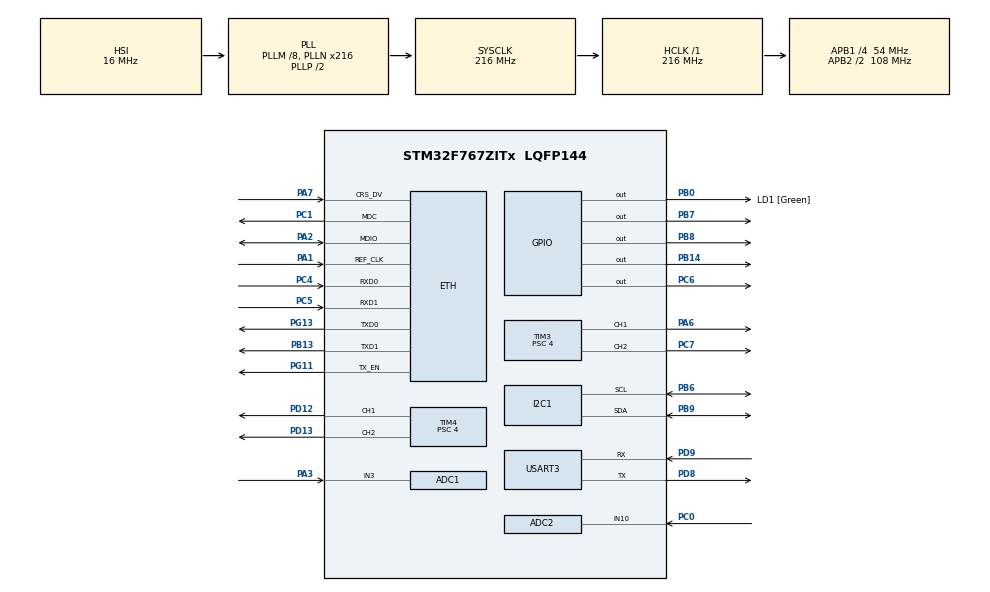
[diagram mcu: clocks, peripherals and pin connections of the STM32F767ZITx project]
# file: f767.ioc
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ADC1.Channel-0\#ChannelRegularConversion=ADC_CHANNEL_3
ADC1.NbrOfConversionFlag=1
ADC1.Rank-0\#ChannelRegularConversion=1
ADC1.SamplingTime-0\#ChannelRegularConversion=ADC_SAMPLETIME_3CYCLES
ADC1.master=1
ADC2.Channel-1\#ChannelRegularConversion=ADC_CHANNEL_10
ADC2.NbrOfConversionFlag=1
ADC2.Rank-1\#ChannelRegularConversion=1
ADC2.SamplingTime-1\#ChannelRegularConversion=ADC_SAMPLETIME_3CYCLES
ETH.MediaInterface=HAL_ETH_RMII_MODE
FREERTOS.Tasks01=defaultTask,24,2048,StartDefaultTask,Default,NULL,Dynamic,NULL,NULL
FREERTOS.configTOTAL_HEAP_SIZE=65536
FREERTOS.configUSE_NEWLIB_REENTRANT=1
I2C1.Timing=0x20404768
Mcu.Family=STM32F7
Mcu.Name=STM32F767ZITx
Mcu.Package=LQFP144
NVIC.ETH_IRQn=true\:5\:0\:false\:false\:false\:true\:true\:false\:true
NVIC.PriorityGroup=NVIC_PRIORITYGROUP_4
NVIC.TIM6_DAC_IRQn=true\:15\:0\:false\:false\:true\:false\:false\:true\:true
NVIC.TimeBase=TIM6_DAC_IRQn
NVIC.TimeBaseIP=TIM6
PA1.Mode=RMII
PA1.Signal=ETH_REF_CLK
PA2.Mode=RMII
PA2.Signal=ETH_MDIO
PA3.Signal=ADCx_IN3
PA6.Signal=S_TIM3_CH1
PA7.Mode=RMII
PA7.Signal=ETH_CRS_DV
PB0.GPIO_Label=LD1 [Green]
PB0.Signal=GPIO_Output
PB13.Mode=RMII
PB13.Signal=ETH_TXD1
PB14.Signal=GPIO_Output
PB6.Mode=I2C
PB6.Signal=I2C1_SCL
PB7.Signal=GPIO_Output
PB8.Signal=GPIO_Output
PB9.Mode=I2C
PB9.Signal=I2C1_SDA
PC0.Signal=ADCx_IN10
PC1.Mode=RMII
PC1.Signal=ETH_MDC
PC4.Mode=RMII
PC4.Signal=ETH_RXD0
PC5.Mode=RMII
PC5.Signal=ETH_RXD1
PC6.Signal=GPIO_Output
PC7.Signal=S_TIM3_CH2
PD12.Signal=S_TIM4_CH1
PD13.Signal=S_TIM4_CH2
PD8.Mode=Asynchronous
PD8.Signal=USART3_TX
PD9.Mode=Asynchronous
PD9.Signal=USART3_RX
PG11.Mode=RMII
PG11.Signal=ETH_TX_EN
PG13.Mode=RMII
PG13.Signal=ETH_TXD0
ProjectManager.HeapSize=0x200
ProjectManager.StackSize=0x400
ProjectManager.TargetToolchain=STM32CubeIDE
RCC.48MHZClocksFreq_Value=45000000
RCC.AHBFreq_Value=216000000
RCC.APB1CLKDivider=RCC_HCLK_DIV4
RCC.APB1Freq_Value=54000000
RCC.APB1TimFreq_Value=108000000
RCC.APB2CLKDivider=RCC_HCLK_DIV2
RCC.APB2Freq_Value=108000000
RCC.APB2TimFreq_Value=216000000
RCC.CortexFreq_Value=216000000
RCC.HCLKFreq_Value=216000000
RCC.HSE_VALUE=25000000
RCC.HSI_VALUE=16000000
RCC.LSE_VALUE=32768
RCC.PLLM=8
RCC.PLLN=216
RCC.PLLQ=9
RCC.SYSCLKFreq_VALUE=216000000
RCC.SYSCLKSource=RCC_SYSCLKSOURCE_PLLCLK
RCC.USBFreq_Value=48000000
RCC.VCOOutputFreq_Value=432000000
SH.ADCx_IN10.0=ADC2_IN10,IN10
SH.ADCx_IN3.0=ADC1_IN3,IN3
SH.S_TIM3_CH1.0=TIM3_CH1,PWM Generation1 CH1
SH.S_TIM3_CH2.0=TIM3_CH2,PWM Generation2 CH2
SH.S_TIM4_CH1.0=TIM4_CH1,PWM Generation1 CH1
SH.S_TIM4_CH2.0=TIM4_CH2,PWM Generation2 CH2
TIM3.Channel-PWM\ Generation1\ CH1=TIM_CHANNEL_1
TIM3.Channel-PWM\ Generation2\ CH2=TIM_CHANNEL_2
TIM3.Period=4095
TIM3.Prescaler=4
TIM4.Channel-PWM\ Generation1\ CH1=TIM_CHANNEL_1
TIM4.Channel-PWM\ Generation2\ CH2=TIM_CHANNEL_2
TIM4.Period=4095
TIM4.Prescaler=4
USART3.VirtualMode=VM_ASYNC
USART3.VirtualMode-Asynchronous=VM_ASYNC
VP_FREERTOS_VS_CMSIS_V2.Mode=CMSIS_V2
VP_RNG_VS_RNG.Mode=RNG_Activate
VP_SYS_VS_tim6.Mode=TIM6
board=custom

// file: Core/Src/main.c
/* USER CODE BEGIN Header */
/**
  ******************************************************************************
  * @file           : main.c
  * @brief          : Main program body
  ******************************************************************************
  * @attention
  *
  * Copyright (c) 2024 STMicroelectronics.
  * All rights reserved.
  *
  * This software is licensed under terms that can be found in the LICENSE file
  * in the root directory of this software component.
  * If no LICENSE file comes with this software, it is provided AS-IS.
  *
  ******************************************************************************
  */
/* USER CODE END Header */
#include "main.h"
#include "string.h"
#include "cmsis_os.h"
#include <stdio.h>

/* USER CODE BEGIN Includes */
#include "mongoose_glue.h"
/* USER CODE END Includes */

/* USER CODE BEGIN PD */
#define MMA8451_ADDR 0x1D
#define F_STATUS 0x00
#define X_MSB 0x01
#define X_LSB 0x02
#define Y_MSB 0x03
#define Y_LSB 0x04
#define Z_MSB 0x05
#define Z_LSB 0x06
#define WHOAMI_REG 0x0D
#define CTRL1 0x2A
#define CTRL2 0x2B
#define G 9.8

asm(".global _printf_float");
/* USER CODE END PD */

#if defined ( __ICCARM__ ) /*!< IAR Compiler */
#pragma location=0x2007c000
ETH_DMADescTypeDef  DMARxDscrTab[ETH_RX_DESC_CNT]; /* Ethernet Rx DMA Descriptors */
#pragma location=0x2007c0a0
ETH_DMADescTypeDef  DMATxDscrTab[ETH_TX_DESC_CNT]; /* Ethernet Tx DMA Descriptors */

#elif defined ( __CC_ARM )  /* MDK ARM Compiler */

__attribute__((at(0x2007c000))) ETH_DMADescTypeDef  DMARxDscrTab[ETH_RX_DESC_CNT]; /* Ethernet Rx DMA Descriptors */
__attribute__((at(0x2007c0a0))) ETH_DMADescTypeDef  DMATxDscrTab[ETH_TX_DESC_CNT]; /* Ethernet Tx DMA Descriptors */

#elif defined ( __GNUC__ ) /* GNU Compiler */

ETH_DMADescTypeDef DMARxDscrTab[ETH_RX_DESC_CNT] __attribute__((section(".RxDecripSection"))); /* Ethernet Rx DMA Descriptors */
ETH_DMADescTypeDef DMATxDscrTab[ETH_TX_DESC_CNT] __attribute__((section(".TxDecripSection")));   /* Ethernet Tx DMA Descriptors */
#endif

ETH_TxPacketConfig TxConfig;

ADC_HandleTypeDef hadc1;
ADC_HandleTypeDef hadc2;

ETH_HandleTypeDef heth;

I2C_HandleTypeDef hi2c1;

RNG_HandleTypeDef hrng;

TIM_HandleTypeDef htim3;
TIM_HandleTypeDef htim4;

UART_HandleTypeDef huart3;

/* Definitions for defaultTask */
osThreadId_t defaultTaskHandle;
const osThreadAttr_t defaultTask_attributes = {
  .name = "defaultTask",
  .stack_size = 2048 * 4,
  .priority = (osPriority_t) osPriorityNormal,
};
/* USER CODE BEGIN PV */
char car_status[64] = "Idle";
uint16_t PWM_Value2 = 0;
uint16_t PWM_Value3 = 0;
uint16_t PWM_Value4 = 0;
uint16_t PWM_Value5 = 0;
uint16_t aksx; 						/* Fra akselerometer */
uint16_t aksy; 						/* Fra akselerometer */
uint16_t fart_input = 0; 			/* Kontroller fart */
uint16_t turning_input = 0; 		/* Fra joystick */
float current_speed = 0; 			/* Kalkulert med akselerasjon */
bool front_lights = false;			/* Status for front lights on car */
bool brake_lights = false;			/* Status for brake lights on car */
/* USER CODE END PV */

void SystemClock_Config(void);
static void MX_GPIO_Init(void);
static void MX_ETH_Init(void);
static void MX_RNG_Init(void);
static void MX_USART3_UART_Init(void);
static void MX_ADC1_Init(void);
static void MX_ADC2_Init(void);
static void MX_TIM3_Init(void);
static void MX_TIM4_Init(void);
static void MX_I2C1_Init(void);
void StartDefaultTask(void *argument);

/* USER CODE BEGIN PFP */
struct car_lights {
    bool front_light;
    bool brake_light;
};

struct car_status {
	char status[64];
	int speed;
};

void BrakeStatusTask(void *argument) {
    for (;;) {
        // Update the brake light variable based on car state
        brake_lights = strcmp(car_status, "Braking") == 0;

        // Update GPIO hardware
        HAL_GPIO_WritePin(GPIOB, GPIO_PIN_8, brake_lights ? GPIO_PIN_SET : GPIO_PIN_RESET);

        osDelay(200); // every 200ms
    }
}

void CarControlTask(void *argument) {
    for (;;) {
        // Update the brake light variable based on car state
    	__HAL_TIM_SET_COMPARE(&htim3, TIM_CHANNEL_2, PWM_Value2);
		__HAL_TIM_SET_COMPARE(&htim3, TIM_CHANNEL_1, PWM_Value3);
		__HAL_TIM_SET_COMPARE(&htim4, TIM_CHANNEL_1, PWM_Value4);
		__HAL_TIM_SET_COMPARE(&htim4, TIM_CHANNEL_2, PWM_Value5);

		HAL_ADC_Start(&hadc1);
		HAL_ADC_Start(&hadc2);

		HAL_ADC_PollForConversion(&hadc1, HAL_MAX_DELAY);
		HAL_ADC_PollForConversion(&hadc2, HAL_MAX_DELAY);

		turning_input = HAL_ADC_GetValue(&hadc1);
		fart_input = HAL_ADC_GetValue(&hadc2);

		printf("Turning input: %d\n\r", turning_input);
		printf("Fart input: %d\n\r", fart_input);

		HAL_ADC_Start(&hadc1);
		HAL_ADC_Start(&hadc2);

		HAL_Delay(10);

		  /*Når bilen har bremset og skal kjøre frem*/
		  if (fart_input > 2045 && current_speed >= 0)
			{
			  PWM_Value4 = (4095 / 2045)*(fart_input - 2045);
			  PWM_Value5 = 0;

			  PWM_Value2 = (4095 / 2045)*(fart_input - 2045);
			  PWM_Value3 = 0;
			  strcpy(car_status, "Driving");
			}

		  if (fart_input <= 2045 && current_speed <= 0)
			{
			  PWM_Value4 = 0;
			  PWM_Value5 = -(4095/2045) * fart_input + 4095;

			  PWM_Value2 = 0;
			  PWM_Value3 = -(4095/2045) * fart_input + 4095;
			  strcpy(car_status, "Driving");
			}

		  /*Når bilen skal bremse og den kjører fremover*/

		  if (current_speed > 0 && fart_input <= 2045)
			{
			  PWM_Value4 = 0;
			  PWM_Value5 = 0;

			  PWM_Value2 = 0;
			  PWM_Value3 = 0;
			  strcpy(car_status, "Braking");
			}

			/*Når bilen skal bremse og den kjører bakover*/

		  if (current_speed < 0 && fart_input >= 2045)
			{
			  PWM_Value2 = 0;
			  PWM_Value3 = 0;

			  PWM_Value4 = 0;
			  PWM_Value5 = 0;
			  strcpy(car_status, "Braking");
			}

			/*Svinging når bilen kjører frammover*/

		  if (current_speed >= 0 && fart_input >= 2045 && turning_input < 1800)
			{
			  PWM_Value4 = (4095 / 2045)*(fart_input - 2045);
			  PWM_Value5 = 0;

			  PWM_Value2 = (4095 / 2045)*(fart_input - 2045) - 500;
			  PWM_Value3 = 0;
			  strcpy(car_status, "Turning left");
			}

		  if (current_speed >= 0 && fart_input >= 2045 && turning_input > 2400)
			{
			  PWM_Value4 = (4095 / 2045)*(fart_input - 2045) - 500;
			  PWM_Value5 = 0;

			  PWM_Value2 = (4095 / 2045)*(fart_input - 2045);
			  PWM_Value3 = 0;
			  strcpy(car_status, "Turning right");
			}

		  if (current_speed <= 2045 && fart_input <= 2045 && turning_input > 2400)
			{
			  PWM_Value4 = 0;
			  PWM_Value5 = -(4095/2045) * fart_input + 4095;

			  PWM_Value2 = 0;
			  PWM_Value3 = -(4095/2045) * fart_input + 4095 - 500;
			  strcpy(car_status, "Turning right");
			}

		  if (current_speed <= 2045 && fart_input <= 2045 && turning_input < 1800)
			{
			  PWM_Value4 = 0;
			  PWM_Value5 = -(4095/2045) * fart_input + 4095 - 500;

			  PWM_Value2 = 0;
			  PWM_Value3 = -(4095/2045) * fart_input + 4095;
			  strcpy(car_status, "Turning left");
			}

        osDelay(200);
    }
}

void I2CTask(void *argument) {
	for (;;) {
		int8_t x_msb_value;
		    uint8_t x_lsb_value;
		    HAL_I2C_Mem_Read(&hi2c1, MMA8451_ADDR << 1, X_MSB, 1, &x_msb_value, 1, HAL_MAX_DELAY);
		    HAL_I2C_Mem_Read(&hi2c1, MMA8451_ADDR << 1, X_LSB, 1, &x_lsb_value, 1, HAL_MAX_DELAY);
		    int16_t x_akse = (x_msb_value << 8 | x_lsb_value); // 4;
		    x_akse /= 4;
		    printf("x_msb: %02x: x_lsb %02x,x-akse: %i\r\n", x_msb_value, x_lsb_value, x_akse);

		    int8_t y_msb_value;
		    uint8_t y_lsb_value;
		    HAL_I2C_Mem_Read(&hi2c1, MMA8451_ADDR << 1, Y_MSB, 1, &y_msb_value, 1, HAL_MAX_DELAY);
		    HAL_I2C_Mem_Read(&hi2c1, MMA8451_ADDR << 1, Y_LSB, 1, &y_lsb_value, 1, HAL_MAX_DELAY);
		    int16_t y_akse = (y_msb_value << 8 | y_lsb_value); // 4;
		    y_akse /= 4;
		    printf("y_msb: %02x: y_lsb %02x,y-akse: %i\r\n", y_msb_value, y_lsb_value, y_akse);

		    int8_t z_msb_value;
		    uint8_t z_lsb_value;
		    HAL_I2C_Mem_Read(&hi2c1, MMA8451_ADDR << 1, Z_MSB, 1, &z_msb_value, 1, HAL_MAX_DELAY);
		    HAL_I2C_Mem_Read(&hi2c1, MMA8451_ADDR << 1, Z_LSB, 1, &z_lsb_value, 1, HAL_MAX_DELAY);
		    int16_t z_akse = (z_msb_value << 8 | z_lsb_value); // 4;
		    z_akse /= 4;
		    printf("z_msb: %i: z_lsb %i,z-akse: %i\r\n", z_msb_value, z_lsb_value, z_akse);

		    float x_akslerasjon = (x_akse*2*G)/8092.0;
		    float y_akslerasjon = (y_akse*2*G)/8092.0;
		    float z_akslerasjon = (z_akse*2*G)/8092.0;

		    if (
		        (y_akslerasjon > -0.7 && y_akslerasjon < 0.7) &&
		        (x_akslerasjon > -0.7 && x_akslerasjon < 0.7)
		    ) {
		        current_speed = 0;
		    } else {
		        current_speed = current_speed + y_akslerasjon * 0.1;
		    }

		    printf("x-akse: %4.2f m/s^2, y-akse: %4.2f m/s^2,z-akse: %4.2f m/s^2\r\n",
		        x_akslerasjon,y_akslerasjon,z_akslerasjon);

		        osDelay(1000);
	}
}

void MMA8451_InitTask(void *argument) {
    uint8_t tx_data;
    uint8_t ctrl2_value, ctrl1_value, whoami_value, fstatus_value;
    HAL_StatusTypeDef status;

    // Give the rest of the system (especially Ethernet) time to initialize
    osDelay(500);

    // Software-reset MMA8451
    tx_data = 1 << 6;
    status = HAL_I2C_Mem_Write(&hi2c1, MMA8451_ADDR << 1, CTRL2, 1, &tx_data, 1, 100);
    if (status != HAL_OK) {
        printf("I2C write failed (reset): %d\r\n", status);
    }

    osDelay(100); // give it some time, but not 1s

    HAL_I2C_Mem_Read(&hi2c1, MMA8451_ADDR << 1, CTRL2, 1, &ctrl2_value, 1, 100);
    HAL_I2C_Mem_Read(&hi2c1, MMA8451_ADDR << 1, CTRL1, 1, &ctrl1_value, 1, 100);
    HAL_I2C_Mem_Read(&hi2c1, MMA8451_ADDR << 1, WHOAMI_REG, 1, &whoami_value, 1, 100);
    HAL_I2C_Mem_Read(&hi2c1, MMA8451_ADDR << 1, F_STATUS, 1, &fstatus_value, 1, 100);

    printf("Etter reset: ctrl2:%02X ctrl1:%02X whoami:%02X fstatus:%02X\r\n",
           ctrl2_value, ctrl1_value, whoami_value, fstatus_value);

    // Set ACTIVE mode
    tx_data = 1;
    HAL_I2C_Mem_Write(&hi2c1, MMA8451_ADDR << 1, CTRL1, 1, &tx_data, 1, 100);
    osDelay(100);

    HAL_I2C_Mem_Read(&hi2c1, MMA8451_ADDR << 1, CTRL1, 1, &ctrl1_value, 1, 100);
    printf("Etter config: CTRL1:%02X\r\n", ctrl1_value);

    printf("MMA8451 init complete!\r\n");

    osThreadNew(I2CTask, NULL, NULL);

    vTaskDelete(NULL);  // kill this init task, it’s done

    for (;;) {
        osDelay(1000);
    }
}

void set_lights(struct lights *data) {
    front_lights = data -> front;
    brake_lights = data -> brake;

    HAL_GPIO_WritePin(GPIOC, GPIO_PIN_6, front_lights ? GPIO_PIN_SET : GPIO_PIN_RESET);
    HAL_GPIO_WritePin(GPIOB, GPIO_PIN_8, brake_lights ? GPIO_PIN_SET : GPIO_PIN_RESET);

    printf("Lights updated: front=%d, brake=%d\r\n", data -> front, data -> brake);
}

void get_lights(struct lights *data) {
    data -> front = front_lights;
    data -> brake = brake_lights;

    printf("Lights read: front=%d, brake=%d\r\n", data -> front, data -> brake);
}

void get_status(struct status *data) {
    data -> speed = current_speed;
    strcpy(data -> user_input, car_status);
    printf("Status GET: speed=%d, user_input=%s\r\n", data -> speed, data -> user_input);
}

void set_status(struct status *data) {
    current_speed = data -> speed;
    strcpy(car_status, data -> user_input);
    printf("Status SET: speed=%.2f, user_input=%s\r\n", current_speed, car_status);
}
/* USER CODE END PFP */

/* USER CODE BEGIN 0 */
bool mg_random(void *buf, size_t len) {  // Use on-board RNG
  for (size_t n = 0; n < len; n += sizeof(uint32_t)) {
    uint32_t r;
    HAL_RNG_GenerateRandomNumber(&hrng, &r);
    memcpy((char *) buf + n, &r, n + sizeof(r) > len ? len - n : sizeof(r));
  }
  return true; // TODO(): ensure successful RNG init, then return on false above
}

int _write(int fd, unsigned char *buf, int len) {
  if (fd == 1 || fd == 2) {                     // stdout or stderr ?
    HAL_UART_Transmit(&huart3, buf, len, 999);  // Print to the UART
  }
  return len;
}

/* USER CODE END 0 */

int main(void)
{

  /* MCU Configuration--------------------------------------------------------*/

  /* Reset of all peripherals, Initializes the Flash interface and the Systick. */
  HAL_Init();

  /* Configure the system clock */
  SystemClock_Config();

  /* Initialize all configured peripherals */
  MX_GPIO_Init();
  MX_ETH_Init();
  MX_RNG_Init();
  MX_USART3_UART_Init();
  MX_ADC1_Init();
  MX_ADC2_Init();
  MX_TIM3_Init();
  MX_TIM4_Init();
  MX_I2C1_Init();
  /* USER CODE BEGIN 2 */
	HAL_TIM_PWM_Start(&htim3,TIM_CHANNEL_2);
	HAL_TIM_PWM_Start(&htim3,TIM_CHANNEL_1);
	HAL_TIM_PWM_Start(&htim4,TIM_CHANNEL_1);
	HAL_TIM_PWM_Start(&htim4,TIM_CHANNEL_2);

	/* USER CODE END 2 */

  /* Init scheduler */
  osKernelInitialize();

  /* Create the thread(s) */
  /* creation of defaultTask */
  defaultTaskHandle = osThreadNew(StartDefaultTask, NULL, &defaultTask_attributes);
  osThreadNew(MMA8451_InitTask, NULL, NULL);
  osThreadNew(BrakeStatusTask, NULL, NULL);
  osThreadNew(CarControlTask, NULL, NULL);

  /* Start scheduler */
  osKernelStart();

  /* We should never get here as control is now taken by the scheduler */

  /* Infinite loop */
  while (1)
  {

  }
}

void SystemClock_Config(void)
{
  RCC_OscInitTypeDef RCC_OscInitStruct = {0};
  RCC_ClkInitTypeDef RCC_ClkInitStruct = {0};

  /** Configure the main internal regulator output voltage
  */
  __HAL_RCC_PWR_CLK_ENABLE();
  __HAL_PWR_VOLTAGESCALING_CONFIG(PWR_REGULATOR_VOLTAGE_SCALE1);

  /** Initializes the RCC Oscillators according to the specified parameters
  * in the RCC_OscInitTypeDef structure.
  */
  RCC_OscInitStruct.OscillatorType = RCC_OSCILLATORTYPE_HSI;
  RCC_OscInitStruct.HSIState = RCC_HSI_ON;
  RCC_OscInitStruct.HSICalibrationValue = RCC_HSICALIBRATION_DEFAULT;
  RCC_OscInitStruct.PLL.PLLState = RCC_PLL_ON;
  RCC_OscInitStruct.PLL.PLLSource = RCC_PLLSOURCE_HSI;
  RCC_OscInitStruct.PLL.PLLM = 8;
  RCC_OscInitStruct.PLL.PLLN = 216;
  RCC_OscInitStruct.PLL.PLLP = RCC_PLLP_DIV2;
  RCC_OscInitStruct.PLL.PLLQ = 9;
  RCC_OscInitStruct.PLL.PLLR = 2;
  if (HAL_RCC_OscConfig(&RCC_OscInitStruct) != HAL_OK)
  {
    Error_Handler();
  }

  /** Activate the Over-Drive mode
  */
  if (HAL_PWREx_EnableOverDrive() != HAL_OK)
  {
    Error_Handler();
  }

  /** Initializes the CPU, AHB and APB buses clocks
  */
  RCC_ClkInitStruct.ClockType = RCC_CLOCKTYPE_HCLK|RCC_CLOCKTYPE_SYSCLK
                              |RCC_CLOCKTYPE_PCLK1|RCC_CLOCKTYPE_PCLK2;
  RCC_ClkInitStruct.SYSCLKSource = RCC_SYSCLKSOURCE_PLLCLK;
  RCC_ClkInitStruct.AHBCLKDivider = RCC_SYSCLK_DIV1;
  RCC_ClkInitStruct.APB1CLKDivider = RCC_HCLK_DIV4;
  RCC_ClkInitStruct.APB2CLKDivider = RCC_HCLK_DIV2;

  if (HAL_RCC_ClockConfig(&RCC_ClkInitStruct, FLASH_LATENCY_7) != HAL_OK)
  {
    Error_Handler();
  }
}

static void MX_ADC1_Init(void)
{

  ADC_ChannelConfTypeDef sConfig = {0};

  /** Configure the global features of the ADC (Clock, Resolution, Data Alignment and number of conversion)
  */
  hadc1.Instance = ADC1;
  hadc1.Init.ClockPrescaler = ADC_CLOCK_SYNC_PCLK_DIV4;
  hadc1.Init.Resolution = ADC_RESOLUTION_12B;
  hadc1.Init.ScanConvMode = ADC_SCAN_DISABLE;
  hadc1.Init.ContinuousConvMode = DISABLE;
  hadc1.Init.DiscontinuousConvMode = DISABLE;
  hadc1.Init.ExternalTrigConvEdge = ADC_EXTERNALTRIGCONVEDGE_NONE;
  hadc1.Init.ExternalTrigConv = ADC_SOFTWARE_START;
  hadc1.Init.DataAlign = ADC_DATAALIGN_RIGHT;
  hadc1.Init.NbrOfConversion = 1;
  hadc1.Init.DMAContinuousRequests = DISABLE;
  hadc1.Init.EOCSelection = ADC_EOC_SINGLE_CONV;
  if (HAL_ADC_Init(&hadc1) != HAL_OK)
  {
    Error_Handler();
  }

  /** Configure for the selected ADC regular channel its corresponding rank in the sequencer and its sample time.
  */
  sConfig.Channel = ADC_CHANNEL_3;
  sConfig.Rank = ADC_REGULAR_RANK_1;
  sConfig.SamplingTime = ADC_SAMPLETIME_3CYCLES;
  if (HAL_ADC_ConfigChannel(&hadc1, &sConfig) != HAL_OK)
  {
    Error_Handler();
  }

}

static void MX_ADC2_Init(void)
{

  ADC_ChannelConfTypeDef sConfig = {0};

  /** Configure the global features of the ADC (Clock, Resolution, Data Alignment and number of conversion)
  */
  hadc2.Instance = ADC2;
  hadc2.Init.ClockPrescaler = ADC_CLOCK_SYNC_PCLK_DIV4;
  hadc2.Init.Resolution = ADC_RESOLUTION_12B;
  hadc2.Init.ScanConvMode = ADC_SCAN_DISABLE;
  hadc2.Init.ContinuousConvMode = DISABLE;
  hadc2.Init.DiscontinuousConvMode = DISABLE;
  hadc2.Init.ExternalTrigConvEdge = ADC_EXTERNALTRIGCONVEDGE_NONE;
  hadc2.Init.ExternalTrigConv = ADC_SOFTWARE_START;
  hadc2.Init.DataAlign = ADC_DATAALIGN_RIGHT;
  hadc2.Init.NbrOfConversion = 1;
  hadc2.Init.DMAContinuousRequests = DISABLE;
  hadc2.Init.EOCSelection = ADC_EOC_SINGLE_CONV;
  if (HAL_ADC_Init(&hadc2) != HAL_OK)
  {
    Error_Handler();
  }

  /** Configure for the selected ADC regular channel its corresponding rank in the sequencer and its sample time.
  */
  sConfig.Channel = ADC_CHANNEL_10;
  sConfig.Rank = ADC_REGULAR_RANK_1;
  sConfig.SamplingTime = ADC_SAMPLETIME_3CYCLES;
  if (HAL_ADC_ConfigChannel(&hadc2, &sConfig) != HAL_OK)
  {
    Error_Handler();
  }

}

static void MX_ETH_Init(void)
{

   static uint8_t MACAddr[6];

  heth.Instance = ETH;
  MACAddr[0] = 0x00;
  MACAddr[1] = 0x80;
  MACAddr[2] = 0xE1;
  MACAddr[3] = 0x00;
  MACAddr[4] = 0x00;
  MACAddr[5] = 0x00;
  heth.Init.MACAddr = &MACAddr[0];
  heth.Init.MediaInterface = HAL_ETH_RMII_MODE;
  heth.Init.TxDesc = DMATxDscrTab;
  heth.Init.RxDesc = DMARxDscrTab;
  heth.Init.RxBuffLen = 1524;

  if (HAL_ETH_Init(&heth) != HAL_OK)
  {
    Error_Handler();
  }

  memset(&TxConfig, 0 , sizeof(ETH_TxPacketConfig));
  TxConfig.Attributes = ETH_TX_PACKETS_FEATURES_CSUM | ETH_TX_PACKETS_FEATURES_CRCPAD;
  TxConfig.ChecksumCtrl = ETH_CHECKSUM_IPHDR_PAYLOAD_INSERT_PHDR_CALC;
  TxConfig.CRCPadCtrl = ETH_CRC_PAD_INSERT;

}

static void MX_I2C1_Init(void)
{

  hi2c1.Instance = I2C1;
  hi2c1.Init.Timing = 0x20404768;
  hi2c1.Init.OwnAddress1 = 0;
  hi2c1.Init.AddressingMode = I2C_ADDRESSINGMODE_7BIT;
  hi2c1.Init.DualAddressMode = I2C_DUALADDRESS_DISABLE;
  hi2c1.Init.OwnAddress2 = 0;
  hi2c1.Init.OwnAddress2Masks = I2C_OA2_NOMASK;
  hi2c1.Init.GeneralCallMode = I2C_GENERALCALL_DISABLE;
  hi2c1.Init.NoStretchMode = I2C_NOSTRETCH_DISABLE;
  if (HAL_I2C_Init(&hi2c1) != HAL_OK)
  {
    Error_Handler();
  }

  /** Configure Analogue filter
  */
  if (HAL_I2CEx_ConfigAnalogFilter(&hi2c1, I2C_ANALOGFILTER_ENABLE) != HAL_OK)
  {
    Error_Handler();
  }

  /** Configure Digital filter
  */
  if (HAL_I2CEx_ConfigDigitalFilter(&hi2c1, 0) != HAL_OK)
  {
    Error_Handler();
  }

}

static void MX_RNG_Init(void)
{

  hrng.Instance = RNG;
  if (HAL_RNG_Init(&hrng) != HAL_OK)
  {
    Error_Handler();
  }

}

static void MX_TIM3_Init(void)
{

  TIM_MasterConfigTypeDef sMasterConfig = {0};
  TIM_OC_InitTypeDef sConfigOC = {0};

  htim3.Instance = TIM3;
  htim3.Init.Prescaler = 4;
  htim3.Init.CounterMode = TIM_COUNTERMODE_UP;
  htim3.Init.Period = 4095;
  htim3.Init.ClockDivision = TIM_CLOCKDIVISION_DIV1;
  htim3.Init.AutoReloadPreload = TIM_AUTORELOAD_PRELOAD_DISABLE;
  if (HAL_TIM_PWM_Init(&htim3) != HAL_OK)
  {
    Error_Handler();
  }
  sMasterConfig.MasterOutputTrigger = TIM_TRGO_RESET;
  sMasterConfig.MasterSlaveMode = TIM_MASTERSLAVEMODE_DISABLE;
  if (HAL_TIMEx_MasterConfigSynchronization(&htim3, &sMasterConfig) != HAL_OK)
  {
    Error_Handler();
  }
  sConfigOC.OCMode = TIM_OCMODE_PWM1;
  sConfigOC.Pulse = 0;
  sConfigOC.OCPolarity = TIM_OCPOLARITY_HIGH;
  sConfigOC.OCFastMode = TIM_OCFAST_DISABLE;
  if (HAL_TIM_PWM_ConfigChannel(&htim3, &sConfigOC, TIM_CHANNEL_1) != HAL_OK)
  {
    Error_Handler();
  }
  if (HAL_TIM_PWM_ConfigChannel(&htim3, &sConfigOC, TIM_CHANNEL_2) != HAL_OK)
  {
    Error_Handler();
  }
  HAL_TIM_MspPostInit(&htim3);

}

static void MX_TIM4_Init(void)
{

  TIM_MasterConfigTypeDef sMasterConfig = {0};
  TIM_OC_InitTypeDef sConfigOC = {0};

  htim4.Instance = TIM4;
  htim4.Init.Prescaler = 4;
  htim4.Init.CounterMode = TIM_COUNTERMODE_UP;
  htim4.Init.Period = 4095;
  htim4.Init.ClockDivision = TIM_CLOCKDIVISION_DIV1;
  htim4.Init.AutoReloadPreload = TIM_AUTORELOAD_PRELOAD_DISABLE;
  if (HAL_TIM_PWM_Init(&htim4) != HAL_OK)
  {
    Error_Handler();
  }
  sMasterConfig.MasterOutputTrigger = TIM_TRGO_RESET;
  sMasterConfig.MasterSlaveMode = TIM_MASTERSLAVEMODE_DISABLE;
  if (HAL_TIMEx_MasterConfigSynchronization(&htim4, &sMasterConfig) != HAL_OK)
  {
    Error_Handler();
  }
  sConfigOC.OCMode = TIM_OCMODE_PWM1;
  sConfigOC.Pulse = 0;
  sConfigOC.OCPolarity = TIM_OCPOLARITY_HIGH;
  sConfigOC.OCFastMode = TIM_OCFAST_DISABLE;
  if (HAL_TIM_PWM_ConfigChannel(&htim4, &sConfigOC, TIM_CHANNEL_1) != HAL_OK)
  {
    Error_Handler();
  }
  if (HAL_TIM_PWM_ConfigChannel(&htim4, &sConfigOC, TIM_CHANNEL_2) != HAL_OK)
  {
    Error_Handler();
  }
  HAL_TIM_MspPostInit(&htim4);

}

static void MX_USART3_UART_Init(void)
{

  huart3.Instance = USART3;
  huart3.Init.BaudRate = 115200;
  huart3.Init.WordLength = UART_WORDLENGTH_8B;
  huart3.Init.StopBits = UART_STOPBITS_1;
  huart3.Init.Parity = UART_PARITY_NONE;
  huart3.Init.Mode = UART_MODE_TX_RX;
  huart3.Init.HwFlowCtl = UART_HWCONTROL_NONE;
  huart3.Init.OverSampling = UART_OVERSAMPLING_16;
  huart3.Init.OneBitSampling = UART_ONE_BIT_SAMPLE_DISABLE;
  huart3.AdvancedInit.AdvFeatureInit = UART_ADVFEATURE_NO_INIT;
  if (HAL_UART_Init(&huart3) != HAL_OK)
  {
    Error_Handler();
  }

}

static void MX_GPIO_Init(void)
{
  GPIO_InitTypeDef GPIO_InitStruct = {0};

  /* GPIO Ports Clock Enable */
  __HAL_RCC_GPIOC_CLK_ENABLE();
  __HAL_RCC_GPIOA_CLK_ENABLE();
  __HAL_RCC_GPIOB_CLK_ENABLE();
  __HAL_RCC_GPIOD_CLK_ENABLE();
  __HAL_RCC_GPIOG_CLK_ENABLE();

  /*Configure GPIO pin Output Level */
  HAL_GPIO_WritePin(GPIOB, LD1_Pin|GPIO_PIN_14|GPIO_PIN_7|GPIO_PIN_8, GPIO_PIN_RESET);

  /*Configure GPIO pin Output Level */
  HAL_GPIO_WritePin(GPIOC, GPIO_PIN_6, GPIO_PIN_RESET);

  /*Configure GPIO pins : LD1_Pin PB14 PB7 PB8 */
  GPIO_InitStruct.Pin = LD1_Pin|GPIO_PIN_14|GPIO_PIN_7|GPIO_PIN_8;
  GPIO_InitStruct.Mode = GPIO_MODE_OUTPUT_PP;
  GPIO_InitStruct.Pull = GPIO_NOPULL;
  GPIO_InitStruct.Speed = GPIO_SPEED_FREQ_LOW;
  HAL_GPIO_Init(GPIOB, &GPIO_InitStruct);

  /*Configure GPIO pin : PC6 */
  GPIO_InitStruct.Pin = GPIO_PIN_6;
  GPIO_InitStruct.Mode = GPIO_MODE_OUTPUT_PP;
  GPIO_InitStruct.Pull = GPIO_NOPULL;
  GPIO_InitStruct.Speed = GPIO_SPEED_FREQ_LOW;
  HAL_GPIO_Init(GPIOC, &GPIO_InitStruct);

}

void StartDefaultTask(void *argument)
{
  /* USER CODE BEGIN 5 */
  mongoose_init();
  mongoose_set_http_handlers("lights", get_lights, set_lights, NULL);					// Handler for sending/getting the lights status on the car
  mongoose_set_http_handlers("status", get_status, set_status, NULL);					// Handler for sending/getting the status to/from API endpoint
  for (;;) {
    mongoose_poll();
    glue_update_state();
  }
  /* Infinite loop */
  for(;;)
  {
	  osDelay(100);
  }
  /* USER CODE END 5 */
}

void HAL_TIM_PeriodElapsedCallback(TIM_HandleTypeDef *htim)
{
  if (htim->Instance == TIM6)
  {
    HAL_IncTick();
  }
}

void Error_Handler(void)
{
  __disable_irq();
  while (1)
  {
  }
}
